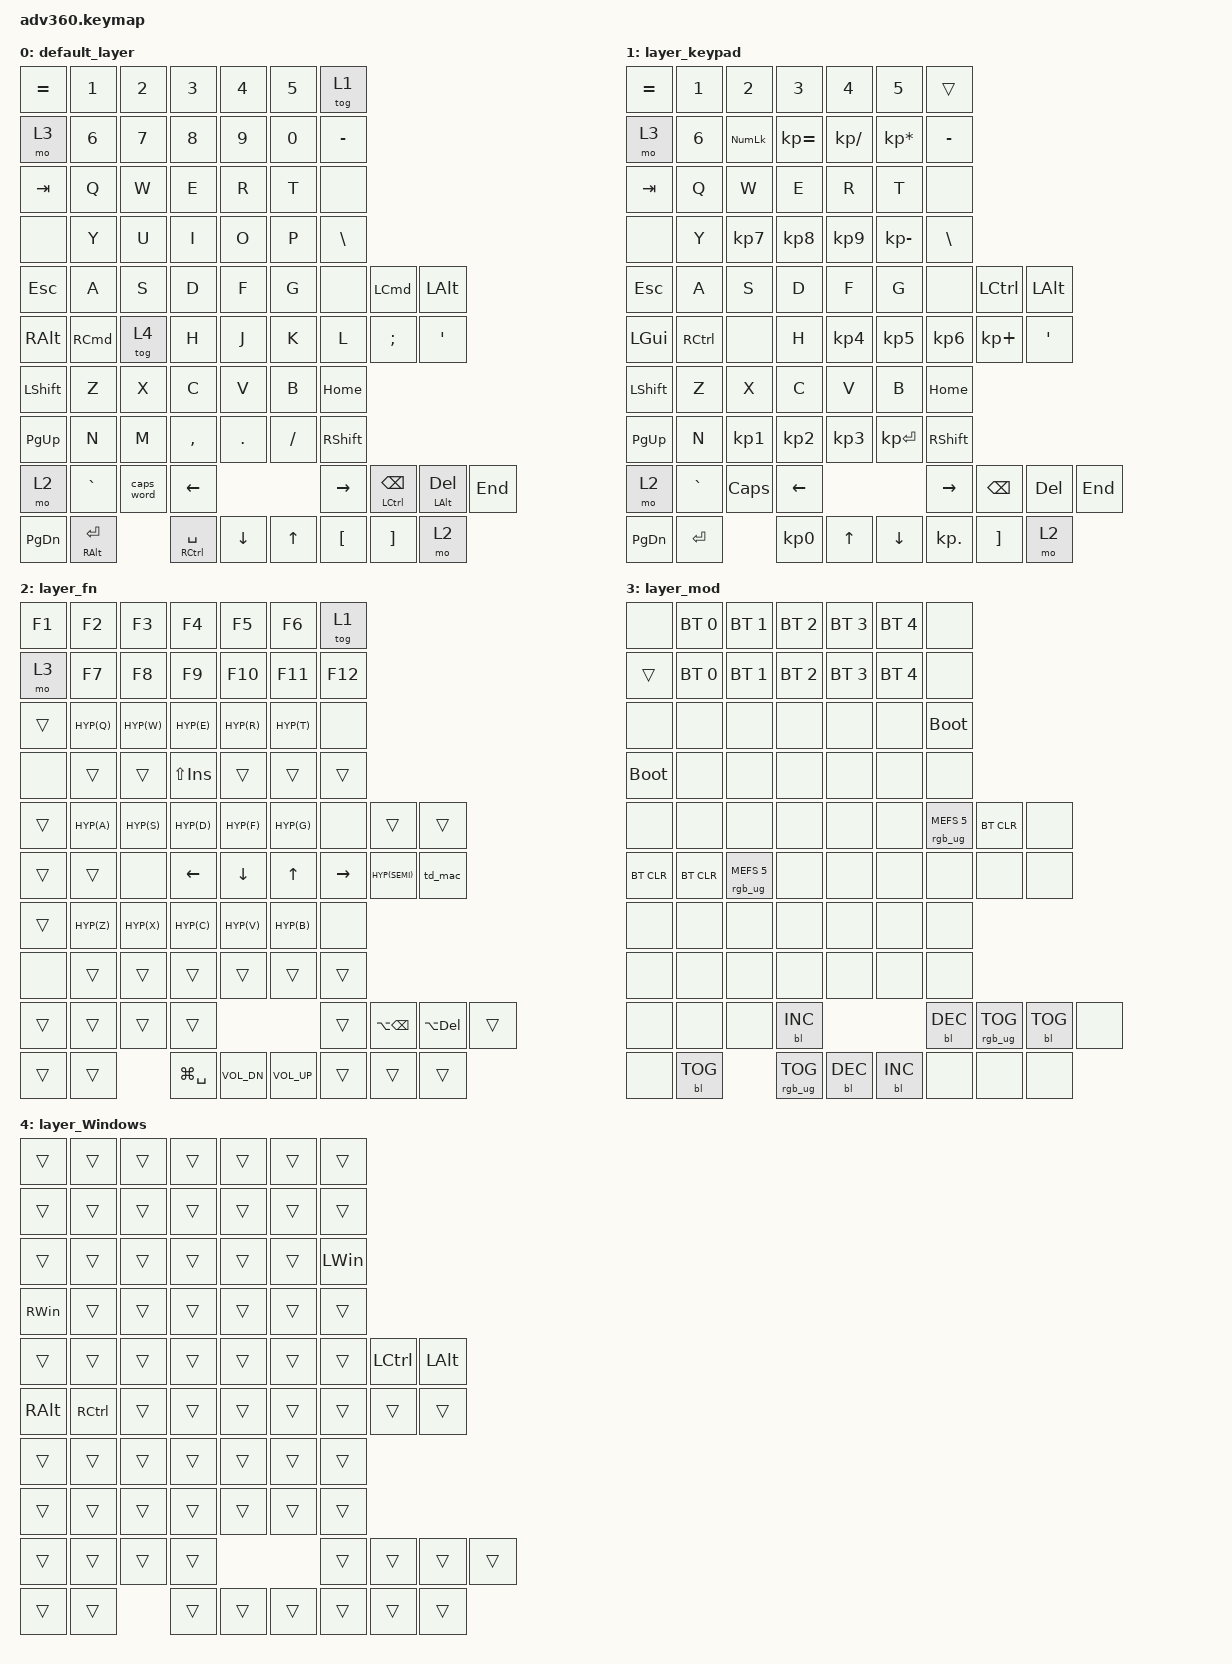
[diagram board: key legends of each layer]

/*
 * Copyright (c) 2020 The ZMK Contributors
 *
 * SPDX-License-Identifier: MIT
 */

#include <behaviors.dtsi>
#include <dt-bindings/zmk/keys.h>
#include <dt-bindings/zmk/bt.h>
#include <dt-bindings/zmk/rgb.h>
#include <dt-bindings/zmk/backlight.h>
 
#define HYP(x) LC(LS(LG(LA(x))))


/ {

    behaviors {
        #include "macros.dtsi"

        hm: homerow_mods {
            compatible = "zmk,behavior-hold-tap";
            #binding-cells = <2>;
            tapping-term-ms = <250>;
            quick_tap_ms = <150>;
            flavor = "tap-preferred";
            bindings = <&kp>, <&kp>;
        };

        
        td_mac: tap_dance_macro {
            compatible = "zmk,behavior-tap-dance";
            #binding-cells = <0>;
            tapping-term-ms = <200>;
            bindings = <&macro_quotes>, <&macro_dquotes> ;
        };

        gqt: global-quick-tap {
            compatible = "zmk,behavior-hold-tap";
            #binding-cells = <2>;
            flavor = "tap-preferred";
            tapping-term-ms = <200>;
            quick-tap-ms = <125>;
            global-quick-tap;
            bindings = <&kp>, <&kp>;
        };

    };

    keymap {
        compatible = "zmk,keymap";
        // Default layer which will be used in macos 

        default_layer {
            bindings = <
                // row 1 - left (7 keys)
                &kp EQUAL  &kp N1       &kp N2      &kp N3              &kp N4      &kp N5      &tog 1
                
                // row 1 - right (7 keys)
                &mo 3      &kp N6       &kp N7      &kp N8              &kp N9      &kp N0      &kp MINUS
                
                // row 2 - left (7 keys)
                &kp TAB    &kp Q        &kp W       &kp E               &kp R       &kp T       &none
                
                // row 2 - right (7 keys)
                &none      &kp Y        &kp U       &kp I               &kp O       &kp P       &kp BSLH
                
                // row 3 - left (9 keys)
                &kp ESC    &kp A        &kp S       &kp D               &kp F       &kp G       &none           &kp LCMD    &kp LALT
                
                // row 3 - right (9 keys)
                &kp RALT   &kp RCMD     &tog 4      &kp H               &kp J       &kp K       &kp L           &kp SEMI    &kp SQT
                
                // row 4 - left (7 keys)
                &kp LSHFT  &kp Z        &kp X       &kp C               &kp V       &kp B       &kp HOME  
                
                // row 4 - right (7 keys)
                &kp PG_UP  &kp N        &kp M       &kp COMMA           &kp DOT     &kp FSLH    &kp RSHFT
                
                // row 5 - left (8 keys)
                &mo 2      &kp GRAVE                &caps_word          &kp LEFT    &kp RIGHT   &gqt LCTRL BSPC   &gqt LALT DEL     &kp END
                
                // row 5 - right (8 keys)
                &kp PG_DN  &gqt RALT ENTER          &gqt RCTRL SPACE    &kp DOWN    &kp UP      &kp LBKT        &kp RBKT    &mo 2
            >;
        };

        layer_keypad {
            bindings = <
                // row 1 - left (7 keys)
                &kp EQUAL   &kp N1      &kp N2      &kp N3          &kp N4          &kp N5          &trans

                // row 1 - right (7 keys)
                &mo 3       &kp N6      &kp KP_NUM  &kp KP_EQUAL    &kp KP_DIVIDE   &kp KP_MULTIPLY &kp MINUS

                // row 2 - left (7 keys)
                &kp TAB     &kp Q       &kp W       &kp E           &kp R           &kp T           &none 

                // row 2 - right (7 keys)
                &none       &kp Y       &kp KP_N7   &kp KP_N8       &kp KP_N9       &kp KP_MINUS    &kp BSLH

                // row 3 - left (9 keys)
                &kp ESC     &kp A       &kp S       &kp D           &kp F           &kp G           &none       &kp LCTRL       &kp LALT 

                // row 3 - right (9 keys)
                &kp LGUI    &kp RCTRL   &none       &kp H           &kp KP_N4       &kp KP_N5       &kp KP_N6   &kp KP_PLUS     &kp SQT

                // row 4 - left (7 keys)
                &kp LSHFT   &kp Z       &kp X       &kp C           &kp V           &kp B           &kp HOME   

                // row 4 - right (7 keys)
                &kp PG_UP   &kp N       &kp KP_N1   &kp KP_N2       &kp KP_N3       &kp KP_ENTER    &kp RSHFT

                // row 5 - left (8 keys)
                &mo 2       &kp GRAVE   &kp CAPS    &kp LEFT        &kp RIGHT       &kp BSPC        &kp DEL     &kp END

                // row 5 - right (8 keys)
                &kp PG_DN   &kp ENTER   &kp KP_N0   &kp UP          &kp DOWN        &kp KP_DOT      &kp RBKT      &mo 2
                                                                 
             >; 
         }; 

        layer_fn { 
            bindings = <
                // row 1 - left (7 keys)
                &kp F1  &kp F2      &kp F3         &kp F4           &kp F5          &kp F6          &tog 1

                // row 1 - right (7 keys)
                &mo 3   &kp F7      &kp F8         &kp F9           &kp F10         &kp F11         &kp F12

                // row 2 - left (7 keys)
                &trans  &kp HYP(Q)  &kp HYP(W)     &kp HYP(E)       &kp HYP(R)      &kp HYP(T)      &none

                // row 2 - right (7 keys)
                &none   &trans      &trans         &kp LS(INS)      &trans          &trans          &trans        

                // row 3 - left (9 keys)
                &trans  &kp HYP(A)  &kp HYP(S)     &kp HYP(D)       &kp HYP(F)      &kp HYP(G)      &none           &trans          &trans

                // row 3 - right (9 keys)
                &trans  &trans      &none          &kp LEFT         &kp DOWN        &kp UP          &kp RIGHT       &kp HYP(SEMI)   &td_mac

                // row 4 - left (7 keys)
                &trans &kp HYP(Z)   &kp HYP(X)     &kp HYP(C)       &kp HYP(V)      &kp HYP(B)      &none  

                // row 4 - right (7 keys)
                &none   &trans      &trans &trans           &trans          &trans          &trans

                // row 5 - left (8 keys)
                &trans  &trans      &trans         &trans           &trans          &kp LA(BSPC)    &kp LA(DEL)     &trans

                // row 5 - right (8 keys)
                &trans  &trans      &kp LG(SPACE)  &kp C_VOL_DN     &kp C_VOL_UP    &trans          &trans          &trans   
            >;
        };

        layer_mod {
            bindings = <
                // row 1 - left (7 keys)
                &none       &bt BT_SEL 0    &bt BT_SEL 1                    &bt BT_SEL 2    &bt BT_SEL 3    &bt BT_SEL 4    &none
                // row 1 - right (7 keys)
                &trans      &bt BT_SEL 0    &bt BT_SEL 1                    &bt BT_SEL 2    &bt BT_SEL 3    &bt BT_SEL 4    &none
                // row 2 - left (7 keys)
                &none       &none           &none                           &none           &none           &none           &bootloader

                // row 2 - right (7 keys)
                &bootloader &none           &none                           &none           &none           &none           &none

                // row 3 - left (9 keys)
                &none       &none           &none                           &none           &none           &none           &rgb_ug RGB_MEFS_CMD 5      &bt BT_CLR  &none

                // row 3 - right (9 keys)
                &bt BT_CLR  &bt BT_CLR      &rgb_ug RGB_MEFS_CMD 5          &none           &none           &none           &none       &none       &none

                // row 4 - left (7 keys)
                &none       &none           &none                           &none           &none           &none           &none

                // row 4 - right (7 keys)
                &none       &none           &none                           &none           &none           &none           &none

                // row 5 - left (8 keys)
                &none       &none           &none                           &bl BL_INC      &bl BL_DEC      &rgb_ug RGB_TOG     &bl BL_TOG  &none

                // row 5 - right (8 keys)
                &none       &bl BL_TOG      &rgb_ug RGB_TOG                 &bl BL_DEC      &bl BL_INC      &none               &none       &none
            >;
        };

        layer_Windows {
            bindings = <
                // row 1 - left (7 keys)
                &trans          &trans                  &trans      &trans      &trans      &trans      &trans

                // row 1 - right (7 keys)
                &trans          &trans                  &trans      &trans      &trans      &trans      &trans

                // row 2 - left (7 keys)
                &trans          &trans                  &trans      &trans      &trans      &trans      &kp LEFT_WIN

                // row 2 - right (7 keys)
                &kp RIGHT_WIN   &trans                  &trans      &trans      &trans      &trans      &trans

                // row 3 - left (9 keys)
                &trans          &trans                  &trans      &trans      &trans      &trans      &trans      &kp LEFT_CONTROL    &kp LEFT_ALT

                // row 3 - right (9 keys)
                &kp RIGHT_ALT   &kp RIGHT_CONTROL       &trans      &trans      &trans      &trans      &trans      &trans  &trans

                // row 4 - left (7 keys)
                &trans          &trans                  &trans      &trans      &trans      &trans      &trans

                // row 4 - right (7 keys)
                &trans          &trans                  &trans      &trans      &trans      &trans      &trans

                // row 5 - left (8 keys)
                &trans          &trans                  &trans      &trans      &trans      &trans      &trans      &trans

                // row 5 - right (8 keys)
                &trans          &trans                  &trans      &trans      &trans      &trans      &trans      &trans
            >;
        };

    };
};
